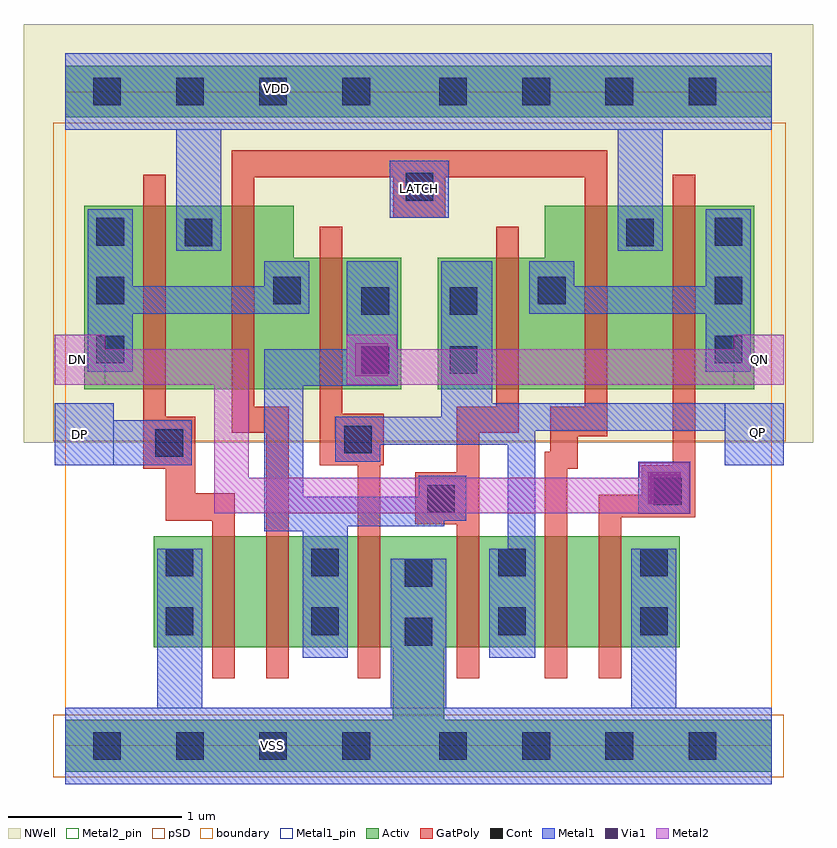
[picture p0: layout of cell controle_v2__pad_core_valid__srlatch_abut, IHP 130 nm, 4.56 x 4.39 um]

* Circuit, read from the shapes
.subckt controle_v2__pad_core_valid__srlatch_abut DN DP LATCH QN QP VDD VSS
XM1 n1 DP VSS VSS sg13_lv_nmos w=0.64u l=0.13u
XM2 QN LATCH n1 VSS sg13_lv_nmos w=0.64u l=0.13u
XM3 VSS QP QN VSS sg13_lv_nmos w=0.64u l=0.13u
XM4 QP QN VSS VSS sg13_lv_nmos w=0.64u l=0.13u
XM5 n2 LATCH QP VSS sg13_lv_nmos w=0.64u l=0.13u
XM6 VSS DN n2 VSS sg13_lv_nmos w=0.64u l=0.13u
XM7 VDD DP n3 VDD sg13_lv_pmos w=1.06u l=0.13u
XM8 n3 LATCH VDD VDD sg13_lv_pmos w=1.06u l=0.13u
XM9 QN QP n3 VDD sg13_lv_pmos w=0.76u l=0.13u
XM10 n4 QN QP VDD sg13_lv_pmos w=0.76u l=0.13u
XM11 VDD LATCH n4 VDD sg13_lv_pmos w=1.06u l=0.13u
XM12 n4 DN VDD VDD sg13_lv_pmos w=1.06u l=0.13u
.ends

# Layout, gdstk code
import gdstk
lib = gdstk.Library(unit=1e-6, precision=1e-09)
def R(c, l, rs):  # rectangles x0, y0, x1, y1
    for r in rs: c.add(gdstk.rectangle(r[:2], r[2:], *l))
def A(c, l, x, y, w, h, nx, ny, dx, dy):  # array of equal rectangles
    R(c, l, [(x+i*dx, y+j*dy, x+i*dx+w, y+j*dy+h) for i in range(nx) for j in range(ny)])
def P(c, l, *ps):  # polygons
    for p in ps: c.add(gdstk.Polygon(p, *l))
Activ = (1, 0)
GatPoly = (5, 0)
Cont = (6, 0)
Metal1 = (8, 0)
Metal1_pin = (8, 2)
Metal2 = (10, 0)
Metal2_pin = (10, 2)
pSD = (14, 0)
Via1 = (19, 0)
NWell = (31, 0)
boundary = (189, 4)

controle_v2__pad_core_va = lib.new_cell('controle_v2__pad_core_valid__srlatch_abut')
R(controle_v2__pad_core_va, Activ, [(0,-0.15,4.08,0.15), (1.89,0.15,2.19,0.57), (0.51,0.57,3.55,1.21), (0,3.63,4.08,3.93)])
P(controle_v2__pad_core_va, Activ, [(0.11,2.06),(0.11,3.12),(1.32,3.12),(1.32,2.82),(1.94,2.82),(1.94,2.06)],
  [(2.15,2.06),(2.15,2.82),(2.77,2.82),(2.77,3.12),(3.98,3.12),(3.98,2.06)])
R(controle_v2__pad_core_va, GatPoly, [(0.58,1.46,0.75,1.6), (0.45,2.03,0.58,3.3)])
P(controle_v2__pad_core_va, GatPoly, [(0.85,0.39),(0.85,1.3),(0.58,1.3),(0.58,1.46),(0.98,1.46),(0.98,0.39)],
  [(0.45,1.6),(0.45,2.3),(0.58,2.3),(0.58,1.9),(0.75,1.9),(0.75,1.6)],
  [(1.16,0.39),(1.16,1.81),(0.96,1.81),(0.96,3.44),(3.13,3.44),(3.13,1.79),(2.96,1.79),(2.96,1.6),(2.9,1.6),(2.9,0.39),(2.77,0.39),(2.77,1.7),(2.8,1.7),(2.8,1.96),(3,1.96),(3,3.285),(2.195,3.285),(2.195,3.05),(1.895,3.05),(1.895,3.285),(1.09,3.285),(1.09,1.96),(1.29,1.96),(1.29,0.39)],
  [(1.69,0.39),(1.69,1.62),(1.47,1.62),(1.47,3),(1.6,3),(1.6,1.92),(1.84,1.92),(1.84,1.62),(1.82,1.62),(1.82,0.39)],
  [(2.26,0.39),(2.26,1.28),(2.02,1.28),(2.02,1.58),(2.26,1.58),(2.26,1.96),(2.49,1.96),(2.49,3),(2.62,3),(2.62,1.81),(2.39,1.81),(2.39,0.39)],
  [(3.08,0.39),(3.08,1.45),(3.33,1.45),(3.33,1.62),(3.51,1.62),(3.51,3.3),(3.64,3.3),(3.64,1.32),(3.21,1.32),(3.21,0.39)])
A(controle_v2__pad_core_va, Cont, 0.16, -0.08, 0.16, 0.16, 4, 2, 0.48, 3.78)
A(controle_v2__pad_core_va, Cont, 2.16, -0.08, 0.16, 0.16, 4, 2, 0.48, 3.78)
A(controle_v2__pad_core_va, Cont, 0.18, 2.21, 0.16, 0.16, 1, 3, 0, 0.34)
A(controle_v2__pad_core_va, Cont, 3.75, 2.21, 0.16, 0.16, 1, 3, 0, 0.34)
R(controle_v2__pad_core_va, Cont, [(1.96,0.58,2.12,0.74), (0.58,0.64,0.74,0.8), (1.42,0.64,1.58,0.8), (2.5,0.64,2.66,0.8), (3.32,0.64,3.48,0.8), (1.96,0.92,2.12,1.08), (0.58,0.98,0.74,1.14), (1.42,0.98,1.58,1.14), (2.5,0.98,2.66,1.14), (3.32,0.98,3.48,1.14), (2.09,1.35,2.25,1.51), (3.4,1.39,3.56,1.55), (0.52,1.67,0.68,1.83), (1.61,1.69,1.77,1.85), (1.71,2.15,1.87,2.31), (2.22,2.15,2.38,2.31), (1.71,2.49,1.87,2.65), (2.22,2.49,2.38,2.65), (1.2,2.55,1.36,2.71), (2.73,2.55,2.89,2.71), (0.69,2.885,0.85,3.045), (3.24,2.885,3.4,3.045), (1.965,3.15,2.125,3.31)])
R(controle_v2__pad_core_va, Metal1, [(0,-0.22,4.08,0.22), (0.53,0.22,0.79,1.14), (1.88,0.22,2.2,1.08), (3.27,0.22,3.53,1.14), (3.31,1.34,3.61,1.64), (3.315,1.345,3.605,1.635), (3.81,1.62,4.15,1.98), (2.715,1.82,3.81,1.98), (1.625,2.085,1.915,2.375), (0.64,2.86,0.9,3.56), (3.19,2.86,3.45,3.56), (1.875,3.05,2.215,3.38), (0,3.56,4.08,4)])
P(controle_v2__pad_core_va, Metal1, [(-0.06,1.62),(-0.06,1.98),(0.28,1.98),(0.28,1.88),(0.73,1.88),(0.73,1.62)],
  [(2.45,0.51),(2.45,1.14),(2.555,1.14),(2.555,1.74),(1.82,1.74),(1.82,1.64),(1.56,1.64),(1.56,1.9),(2.17,1.9),(2.17,2.8),(2.465,2.8),(2.465,1.98),(2.715,1.98),(2.715,0.51)],
  [(0.13,2.16),(0.13,3.1),(0.39,3.1),(0.39,2.655),(1.15,2.655),(1.15,2.8),(1.41,2.8),(1.41,2.495),(0.39,2.495),(0.39,2.16)],
  [(1.37,0.51),(1.37,1.24),(1.15,1.24),(1.15,2.29),(1.625,2.29),(1.625,2.8),(1.92,2.8),(1.92,2.08),(1.375,2.08),(1.375,1.44),(2.04,1.44),(2.04,1.56),(2.315,1.56),(2.315,1.3),(2.19,1.3),(2.19,1.27),(1.63,1.27),(1.63,0.51)],
  [(3.7,2.16),(3.7,2.495),(2.68,2.495),(2.68,2.8),(2.94,2.8),(2.94,2.655),(3.7,2.655),(3.7,3.1),(3.96,3.1),(3.96,2.16)])
R(controle_v2__pad_core_va, Metal1_pin, [(0,-0.22,4.08,0.22), (-0.06,1.62,0.28,1.98), (3.81,1.62,4.15,1.98), (1.875,3.05,2.215,3.38), (0,3.56,4.08,4)])
P(controle_v2__pad_core_va, Metal2, [(0.86,1.345),(0.86,2.085),(-0.06,2.085),(-0.06,2.375),(0.23,2.375),(0.23,2.29),(1.06,2.29),(1.06,1.55),(3.315,1.55),(3.315,1.635),(3.605,1.635),(3.605,1.345)],
  [(1.625,2.085),(1.625,2.375),(1.915,2.375),(1.915,2.29),(3.86,2.29),(3.86,2.375),(4.15,2.375),(4.15,2.085)])
R(controle_v2__pad_core_va, Metal2_pin, [(-0.06,2.085,0.23,2.375), (3.86,2.085,4.15,2.375)])
R(controle_v2__pad_core_va, pSD, [(-0.07,-0.18,4.15,0.18), (-0.07,1.76,4.16,3.6)])
R(controle_v2__pad_core_va, Via1, [(3.365,1.395,3.555,1.585), (1.675,2.135,1.865,2.325)])
R(controle_v2__pad_core_va, NWell, [(-0.24,1.75,4.32,4.17)])
R(controle_v2__pad_core_va, boundary, [(0,0,4.08,3.78)])
controle_v2__pad_core_va.add(gdstk.Label('LATCH', (2.045,3.22), layer=8, texttype=25))
controle_v2__pad_core_va.add(gdstk.Label('DP', (0.08,1.8), layer=8, texttype=25))
controle_v2__pad_core_va.add(gdstk.Label('QP', (4,1.81), layer=8, texttype=25))
controle_v2__pad_core_va.add(gdstk.Label('VDD', (1.22,3.8), layer=8, texttype=25))
controle_v2__pad_core_va.add(gdstk.Label('VSS', (1.195,0.005), layer=8, texttype=25))
controle_v2__pad_core_va.add(gdstk.Label('DN', (0.07,2.23), layer=10, texttype=25))
controle_v2__pad_core_va.add(gdstk.Label('QN', (4.01,2.23), layer=10, texttype=25))

lib.write_gds('controle_v2__pad_core_valid__srlatch_abut.gds')
